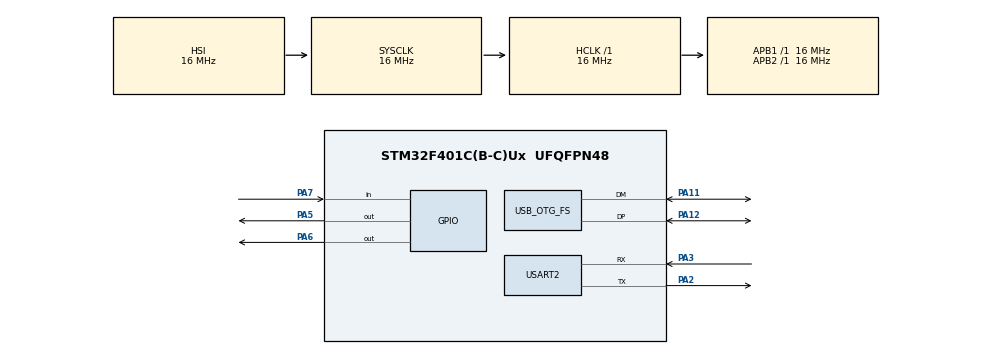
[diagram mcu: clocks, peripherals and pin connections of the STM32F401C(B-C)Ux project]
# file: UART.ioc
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Mcu.Family=STM32F4
Mcu.Name=STM32F401C(B-C)Ux
Mcu.Package=UFQFPN48
NVIC.OTG_FS_IRQn=true\:0\:0\:false\:false\:true\:false\:true\:true
NVIC.PriorityGroup=NVIC_PRIORITYGROUP_4
NVIC.USART2_IRQn=true\:0\:0\:false\:false\:true\:true\:true\:true
PA11.Mode=Device_Only
PA11.Signal=USB_OTG_FS_DM
PA12.Mode=Device_Only
PA12.Signal=USB_OTG_FS_DP
PA13.Mode=Serial_Wire
PA13.Signal=SYS_JTMS-SWDIO
PA14.Mode=Serial_Wire
PA14.Signal=SYS_JTCK-SWCLK
PA2.Mode=Asynchronous
PA2.Signal=USART2_TX
PA3.Mode=Asynchronous
PA3.Signal=USART2_RX
PA5.Signal=GPIO_Output
PA6.Signal=GPIO_Output
PA7.Signal=GPIO_Input
PH0\ -\ OSC_IN.Mode=HSE-External-Oscillator
PH0\ -\ OSC_IN.Signal=RCC_OSC_IN
PH1\ -\ OSC_OUT.Mode=HSE-External-Oscillator
PH1\ -\ OSC_OUT.Signal=RCC_OSC_OUT
ProjectManager.HeapSize=0x200
ProjectManager.StackSize=0x400
ProjectManager.TargetToolchain=CMake
RCC.48MHZClocksFreq_Value=48000000
RCC.AHBFreq_Value=16000000
RCC.APB1Freq_Value=16000000
RCC.APB1TimFreq_Value=16000000
RCC.APB2Freq_Value=16000000
RCC.APB2TimFreq_Value=16000000
RCC.CortexFreq_Value=16000000
RCC.HCLKFreq_Value=16000000
RCC.HSE_VALUE=25000000
RCC.HSI_VALUE=16000000
RCC.LSE_VALUE=32768
RCC.PLLM=15
RCC.PLLN=144
RCC.PLLQ=5
RCC.SYSCLKFreq_VALUE=16000000
RCC.VCOOutputFreq_Value=240000000
USART2.VirtualMode=VM_ASYNC
USB_DEVICE.CLASS_NAME_FS=CDC
USB_DEVICE.VirtualMode=Cdc
USB_DEVICE.VirtualModeFS=Cdc_FS
USB_OTG_FS.VirtualMode=Device_Only
VP_USB_DEVICE_VS_USB_DEVICE_CDC_FS.Mode=CDC_FS
board=custom

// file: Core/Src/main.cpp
/* USER CODE BEGIN Header */
/**
  ******************************************************************************
  * @file           : main.c
  * @brief          : Main program body
  ******************************************************************************
  * @attention
  *
  * Copyright (c) 2026 STMicroelectronics.
  * All rights reserved.
  *
  * This software is licensed under terms that can be found in the LICENSE file
  * in the root directory of this software component.
  * If no LICENSE file comes with this software, it is provided AS-IS.
  *
  ******************************************************************************
  */
/* USER CODE END Header */
#include "main.h"
#include "usb_device.h"
#include "usbd_cdc_if.h"
#include "instructions.h"
#include "mode_setter.h"
#include "Telemetry_Packet.h"
#include <random>

extern "C" {

// #include "packet.h"

UART_HandleTypeDef huart2;

void SystemClock_Config(void);
static void MX_GPIO_Init(void);
static void MX_USART2_UART_Init(void);

/* USER CODE BEGIN 0 */

// Buffer to receive raw UART data (e.g., "123,4,5")

volatile uint8_t rxBuffer[sizeof(Telemetry_Packet)] = {'\0'};
uint8_t helloWorld[13] = "Hello World\n";
uint8_t callSign[8] = "KMD776\n";
volatile uint8_t dataReady = 0;
char userInput[32] = {'\0'};
uint8_t sensorA = 0;
uint8_t sensorB = 0;
uint8_t sensorC = 0;

// Structured data to store parsed numbers
// SensorData_t sensorData = {
    // .photoresistor = 0,
    // .button = 0,
    // .led = 0
// };

/* USER CODE END 0 */

int main(void)
{

  /* MCU Configuration--------------------------------------------------------*/

  /* Reset of all peripherals, Initializes the Flash interface and the Systick. */
  HAL_Init();

  /* Configure the system clock */
  SystemClock_Config();

  /* Initialize all configured peripherals */
  MX_GPIO_Init();
  MX_USART2_UART_Init();
  MX_USB_DEVICE_Init();
  /* USER CODE BEGIN 2 */
  // Initializes the UART receive interupt, so that we can interupt the main loop to recieve data
  HAL_UART_Receive_IT(&huart2, (uint8_t*)rxBuffer, sizeof(rxBuffer));
  /* USER CODE END 2 */
   // Turns on onboard LED when program is running
  HAL_GPIO_WritePin(GPIOC, 13, GPIO_PIN_SET);
  /* Infinite loop */
  while (1){
    // lets us create random stuff and things
    std::mt19937 gen;
    std::uniform_int_distribution<> dist(0, 100);

    // Creates random packet
    Telemetry_Packet packet;
    packet.packet_id = 0x1234;
    packet.temp = dist(gen);
    packet.latitude = dist(gen);
    packet.longitude = dist(gen);
    packet.altitude = dist(gen);
    packet.utc_time = dist(gen);
    packet.velocity = dist(gen);

    union {
      Telemetry_Packet packet;
      uint8_t bytes[sizeof(packet)];
    } packet_bytes = { packet };

    // get user input
    // CDC_Receive_FS(userInput, sizeof(userInput) - 1);
    // userInput[sizeof(userInput) - 1] = '\0';

    //Recieving
    if(dataReady) {
      CDC_Transmit_FS((uint8_t*)rxBuffer, sizeof(Telemetry_Packet));
      memset((uint8_t*)rxBuffer, 0, sizeof(rxBuffer));
      dataReady = 0;
    }

    // CDC_Transmit_FS((uint8_t*)"hi\r\n", 4);
    // re-enables the UART Recueve interupt
    HAL_UART_Receive_IT(&huart2, (uint8_t*)rxBuffer, sizeof(rxBuffer));
    // CDC_Transmit_FS((uint8_t*)"ho\r\n", 4);

    // Transmitting data over UART
    // TEMPORARY TRANSMIT FOR TESTING!!!!!!
    // HAL_UART_Transmit(&huart2, helloWorld, sizeof(helloWorld), HAL_MAX_DELAY);
    // HAL_UART_Transmit(&huart2, callSign, sizeof(callSign), HAL_MAX_DELAY);

    // Trasnmitting random packet
    // HAL_UART_Transmit(&huart2, (const uint8_t *) packet_bytes.bytes, sizeof(packet_bytes.bytes), HAL_MAX_DELAY);

    // Goes through user input and determines the correct action or function to call
    if(userInput[0] == '0' || userInput[0] == '1' || userInput[0] == '2' || userInput[0] == '3') {
      setMode((EbyteMode)*userInput);
      // Clear user input after processing
      userInput[0] = '\0';
    } else if (strcmp(userInput,"Current Parameters") == 0) {
      current_parameters();
      // Clear user input after processing
      userInput[0] = '\0';
    } else if(strcmp(userInput,"Version Numbers") == 0) {
      present_version();
      // Clear user input after processing
      userInput[0] = '\0';
    } else if(strcmp(userInput,"Reset Parameters") == 0) {
      reset_parameters();
      // Clear user input after processing
      userInput[0] = '\0';
    } else if(userInput[0] != '\0'){
      HAL_UART_Transmit(&huart2, (uint8_t*)userInput, sizeof(userInput) - 1, HAL_MAX_DELAY);
      // Clear input after processing
      userInput[0] = '\0';
    }

    HAL_Delay(1000);
  }

}

void SystemClock_Config(void)
{
  RCC_OscInitTypeDef RCC_OscInitStruct = {0};
  RCC_ClkInitTypeDef RCC_ClkInitStruct = {0};

  /** Configure the main internal regulator output voltage
  */
  __HAL_RCC_PWR_CLK_ENABLE();
  __HAL_PWR_VOLTAGESCALING_CONFIG(PWR_REGULATOR_VOLTAGE_SCALE2);

  /** Initializes the RCC Oscillators according to the specified parameters
  * in the RCC_OscInitTypeDef structure.
  */
  RCC_OscInitStruct.OscillatorType = RCC_OSCILLATORTYPE_HSI|RCC_OSCILLATORTYPE_HSE;
  RCC_OscInitStruct.HSEState = RCC_HSE_ON;
  RCC_OscInitStruct.HSIState = RCC_HSI_ON;
  RCC_OscInitStruct.HSICalibrationValue = RCC_HSICALIBRATION_DEFAULT;
  RCC_OscInitStruct.PLL.PLLState = RCC_PLL_ON;
  RCC_OscInitStruct.PLL.PLLSource = RCC_PLLSOURCE_HSE;
  RCC_OscInitStruct.PLL.PLLM = 15;
  RCC_OscInitStruct.PLL.PLLN = 144;
  RCC_OscInitStruct.PLL.PLLP = RCC_PLLP_DIV2;
  RCC_OscInitStruct.PLL.PLLQ = 5;
  if (HAL_RCC_OscConfig(&RCC_OscInitStruct) != HAL_OK)
  {
    Error_Handler();
  }

  /** Initializes the CPU, AHB and APB buses clocks
  */
  RCC_ClkInitStruct.ClockType = RCC_CLOCKTYPE_HCLK|RCC_CLOCKTYPE_SYSCLK
                              |RCC_CLOCKTYPE_PCLK1|RCC_CLOCKTYPE_PCLK2;
  RCC_ClkInitStruct.SYSCLKSource = RCC_SYSCLKSOURCE_HSI;
  RCC_ClkInitStruct.AHBCLKDivider = RCC_SYSCLK_DIV1;
  RCC_ClkInitStruct.APB1CLKDivider = RCC_HCLK_DIV1;
  RCC_ClkInitStruct.APB2CLKDivider = RCC_HCLK_DIV1;

  if (HAL_RCC_ClockConfig(&RCC_ClkInitStruct, FLASH_LATENCY_0) != HAL_OK)
  {
    Error_Handler();
  }
}

static void MX_USART2_UART_Init(void)
{

  huart2.Instance = USART2;
  huart2.Init.BaudRate = 9600;
  huart2.Init.WordLength = UART_WORDLENGTH_8B;
  huart2.Init.StopBits = UART_STOPBITS_1;
  huart2.Init.Parity = UART_PARITY_NONE;
  huart2.Init.Mode = UART_MODE_TX_RX;
  huart2.Init.HwFlowCtl = UART_HWCONTROL_NONE;
  huart2.Init.OverSampling = UART_OVERSAMPLING_16;
  if (HAL_UART_Init(&huart2) != HAL_OK)
  {
    Error_Handler();
  }

}

static void MX_GPIO_Init(void)
{
  /* USER CODE BEGIN MX_GPIO_Init_1 */
  __HAL_RCC_GPIOC_CLK_ENABLE();
  /* USER CODE END MX_GPIO_Init_1 */

  /* GPIO Ports Clock Enable */
  __HAL_RCC_GPIOH_CLK_ENABLE();
  __HAL_RCC_GPIOA_CLK_ENABLE();

  /* USER CODE BEGIN MX_GPIO_Init_2 */
  GPIO_InitTypeDef GPIO_InitStruct = {0};

  GPIO_InitStruct.Pin = GPIO_PIN_13;
  GPIO_InitStruct.Mode = GPIO_MODE_OUTPUT_PP;
  GPIO_InitStruct.Pull = GPIO_NOPULL;
  GPIO_InitStruct.Speed = GPIO_SPEED_FREQ_LOW;
  HAL_GPIO_Init(GPIOC, &GPIO_InitStruct);
  /* USER CODE END MX_GPIO_Init_2 */
}

/* USER CODE BEGIN 4 */

void HAL_UART_RxCpltCallback(UART_HandleTypeDef *huart) {
    if (huart->Instance == USART2) {
      // The data received is put in Rx buffer and then a stop command is added to the end
      rxBuffer[sizeof(rxBuffer) - 1] = '\0';
      // Data is now ready
      dataReady = 1;
      HAL_GPIO_TogglePin(GPIOC, 13);
      // CDC_Transmit_FS((uint8_t*)"hi\r\n", 4);
      HAL_UART_Receive_IT(&huart2, (uint8_t*)rxBuffer, sizeof(rxBuffer));
    }
}

}

/* USER CODE END 4 */

void Error_Handler(void)
{
  __disable_irq();
  while (1)
  {
  }
}
